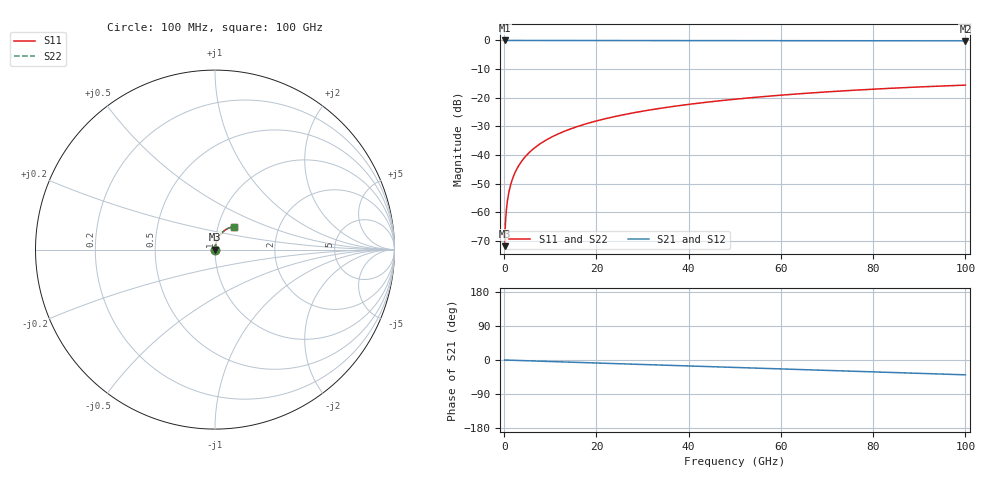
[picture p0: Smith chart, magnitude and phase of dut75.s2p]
! Touchstone file exported from HFSS 2026.1.0
!  File:  C:/ffzhzh/LocalFiles/Ansys_Project_Files/temp_train_TSV_75_1783505343_44152.aedt
!  Generated:  06:10:20 PM Jul  8, 2026
!  Design:  TSV
!  Project:  temp_train_TSV_75_1783505343_44152
! Variables:
!  h_bsmrdl = 2um
!  h_ox = 20um
!  h_rdl = 5um
!  h_sub = 70um
!  h_tmrdl = 5um
!  h_tsv = 70um
!  h_via = 3um
!  l_bsmrdl = 300um
!  l_sub = 420.96um
!  l_tmrdl = 200um
!  m_sub = 200um
!  pitch = 59.35um
!  r_tsv = 10.48um
!  s_tmrdl = 10um
!  w_bsmrdl = 18um
!  w_sub = 500um
!  w_tmrdl = 12um
!  x_tsv_center1 = 206um
!  x_tsv_center2 = 524um
!  x_tsv_center3 = 736um
!  x_tsv_center4 = 1054um
!  x_tsv_center5 = 1266um
!  x_tsv_center6 = 1584um
# GHz S MA R 50.000000
! Terminal data exported
! Port[1] = TSV1_1_T1
! Port[2] = TSV1_1_T2
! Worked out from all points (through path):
!   1000 points, 100 MHz to 100 GHz, reference 50 ohm
!   highest |S21| = 0.00 dB at 100 MHz (marker M1); lowest = -0.1 dB at 100 GHz (marker M2)
!   group delay of S21, straight-line fit = 1.09 ps
!   lowest |S11| = -71.9 dB at 100 MHz (marker M3), VSWR 1.00, Z = 50 + j0.0233 ohm
!   |S11| at or under -10 dB: start of sweep to end of sweep
!   |S22| runs from -71.9 to -15.6 dB; largest |S21 - S12| = 2.1e-15
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0.1  0.0002551 65.8  0.9999 -0.0  0.9999 -0.0  0.0002551 65.8
! Gamma 0 0 0 0
! Port Impedance 50 0 50 0
0.3  0.0006998 79.2  0.9999 -0.1  0.9999 -0.1  0.0006998 79.2
0.7  0.001555 82.4  0.9998 -0.3  0.9998 -0.3  0.001555 82.4
0.8  0.001762 82.7  0.9998 -0.3  0.9998 -0.3  0.001762 82.7
1  0.002172 83.3  0.9998 -0.4  0.9998 -0.4  0.002172 83.3
1.3  0.002783 83.9  0.9997 -0.5  0.9997 -0.5  0.002783 83.9
1.7  0.003593 84.4  0.9997 -0.7  0.9997 -0.7  0.003593 84.4
2.3  0.004801 84.8  0.9996 -0.9  0.9996 -0.9  0.004801 84.8
3  0.006201 85.0  0.9996 -1.2  0.9996 -1.2  0.006201 85.0
3.8  0.007791 85.1  0.9995 -1.5  0.9995 -1.5  0.007791 85.1
4.8  0.009768 85.0  0.9994 -1.9  0.9994 -1.9  0.009768 85.0
6  0.01213 84.9  0.9993 -2.4  0.9993 -2.4  0.01213 84.9
8.8  0.01762 84.2  0.9991 -3.5  0.9991 -3.5  0.01762 84.2
12.4  0.02464 83.1  0.9988 -4.9  0.9988 -4.9  0.02464 83.1
16.8  0.03314 81.6  0.9985 -6.7  0.9985 -6.7  0.03314 81.6
24.2  0.04726 79.0  0.9977 -9.6  0.9977 -9.6  0.04726 79.0
33.4  0.06445 75.6  0.9965 -13.2  0.9965 -13.2  0.06445 75.6
41.2  0.0786 72.7  0.9954 -16.2  0.9954 -16.2  0.0786 72.7
50.1  0.09419 69.3  0.9939 -19.7  0.9939 -19.7  0.0942 69.3
66.7  0.1213 62.9  0.9906 -26.2  0.9906 -26.2  0.1213 62.9
83.4  0.1456 56.5  0.9871 -32.7  0.9871 -32.7  0.1456 56.5
100  0.1658 50.2  0.9836 -39.1  0.9836 -39.1  0.1658 50.2
